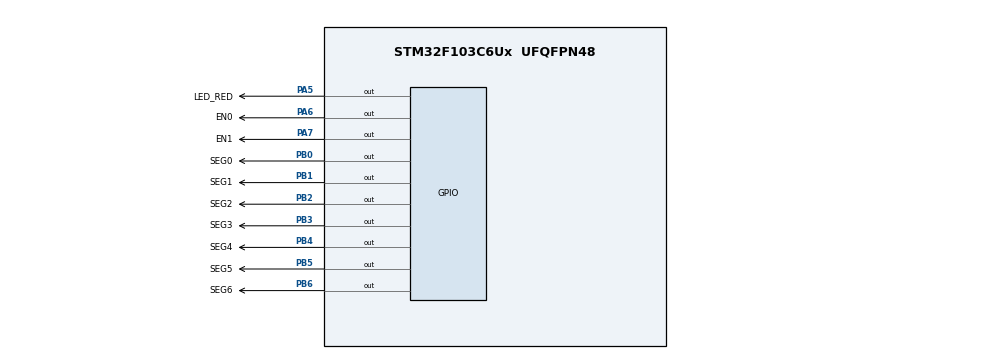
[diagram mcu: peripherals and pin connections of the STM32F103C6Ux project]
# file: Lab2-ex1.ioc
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Mcu.Family=STM32F1
Mcu.Name=STM32F103C6Ux
Mcu.Package=UFQFPN48
NVIC.PriorityGroup=NVIC_PRIORITYGROUP_4
NVIC.TIM2_IRQn=true\:0\:0\:false\:false\:true\:true\:true
PA5.GPIO_Label=LED_RED
PA5.Signal=GPIO_Output
PA6.GPIO_Label=EN0
PA6.Signal=GPIO_Output
PA7.GPIO_Label=EN1
PA7.Signal=GPIO_Output
PB0.GPIO_Label=SEG0
PB0.Signal=GPIO_Output
PB1.GPIO_Label=SEG1
PB1.Signal=GPIO_Output
PB2.GPIO_Label=SEG2
PB2.Signal=GPIO_Output
PB3.GPIO_Label=SEG3
PB3.Signal=GPIO_Output
PB4.GPIO_Label=SEG4
PB4.Signal=GPIO_Output
PB5.GPIO_Label=SEG5
PB5.Signal=GPIO_Output
PB6.GPIO_Label=SEG6
PB6.Signal=GPIO_Output
ProjectManager.HeapSize=0x200
ProjectManager.StackSize=0x400
ProjectManager.TargetToolchain=STM32CubeIDE
RCC.APB1Freq_Value=8000000
RCC.APB2Freq_Value=8000000
TIM2.Period=9
TIM2.Prescaler=7999
VP_SYS_VS_ND.Mode=No_Debug
VP_TIM2_VS_ClockSourceINT.Mode=Internal
board=custom

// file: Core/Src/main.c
/* USER CODE BEGIN Header */
/**
  ******************************************************************************
  * @file           : main.c
  * @brief          : Main program body
  ******************************************************************************
  * @attention
  *
  * <h2><center>&copy; Copyright (c) 2025 STMicroelectronics.
  * All rights reserved.</center></h2>
  *
  * This software component is licensed by ST under BSD 3-Clause license,
  * the "License"; You may not use this file except in compliance with the
  * License. You may obtain a copy of the License at:
  *                        opensource.org/licenses/BSD-3-Clause
  *
  ******************************************************************************
  */
/* USER CODE END Header */
#include "main.h"
#include "software_timer.h"

TIM_HandleTypeDef htim2;

void SystemClock_Config(void);
static void MX_GPIO_Init(void);
static void MX_TIM2_Init(void);

/* USER CODE BEGIN 0 */

void display7SEG(int num);
/* USER CODE END 0 */

int led_status = 0;
int main(void)
{

  /* MCU Configuration--------------------------------------------------------*/

  /* Reset of all peripherals, Initializes the Flash interface and the Systick. */
  HAL_Init();

  /* Configure the system clock */
  SystemClock_Config();

  /* Initialize all configured peripherals */
  MX_GPIO_Init();
  MX_TIM2_Init();
  /* USER CODE BEGIN 2 */
  HAL_TIM_Base_Start_IT(&htim2);
  /* USER CODE END 2 */
  setTimer1(500);
  setTimer2(1000);
  /* Infinite loop */
  /* USER CODE BEGIN WHILE */
  while (1) {
	  // Check flag software timer
	  if (timer1_flag == 1) {
		  switch(led_status) {
			  case 0:
				  // 0: Display "1" on the first LED
				  HAL_GPIO_WritePin(EN1_GPIO_Port, EN1_Pin, GPIO_PIN_SET);   // Turn off LED 2
				  display7SEG(1);
				  HAL_GPIO_WritePin(EN0_GPIO_Port, EN0_Pin, GPIO_PIN_RESET); // Turn on LED 1
				  led_status = 1; // Switch to the next status
				  break;
			  case 1:
				  // 1: Display "2" on the second LED
				  HAL_GPIO_WritePin(EN0_GPIO_Port, EN0_Pin, GPIO_PIN_SET);   // Turn off LED 1
				  display7SEG(2);
				  HAL_GPIO_WritePin(EN1_GPIO_Port, EN1_Pin, GPIO_PIN_RESET); // Turn on LED 2
				  led_status = 0; // Switch to the first status
				  break;
			  default:
				  break;
		  }
		  // set timer for the next time
		  setTimer1(500);
	  }

	  if (timer2_flag == 1) {
		  HAL_GPIO_TogglePin(LED_RED_GPIO_Port, LED_RED_Pin);
		  setTimer2(1000);
	  }

  }
  /* USER CODE END 3 */
}

void SystemClock_Config(void)
{
  RCC_OscInitTypeDef RCC_OscInitStruct = {0};
  RCC_ClkInitTypeDef RCC_ClkInitStruct = {0};

  /** Initializes the RCC Oscillators according to the specified parameters
  * in the RCC_OscInitTypeDef structure.
  */
  RCC_OscInitStruct.OscillatorType = RCC_OSCILLATORTYPE_HSI;
  RCC_OscInitStruct.HSIState = RCC_HSI_ON;
  RCC_OscInitStruct.HSICalibrationValue = RCC_HSICALIBRATION_DEFAULT;
  RCC_OscInitStruct.PLL.PLLState = RCC_PLL_NONE;
  if (HAL_RCC_OscConfig(&RCC_OscInitStruct) != HAL_OK)
  {
    Error_Handler();
  }
  /** Initializes the CPU, AHB and APB buses clocks
  */
  RCC_ClkInitStruct.ClockType = RCC_CLOCKTYPE_HCLK|RCC_CLOCKTYPE_SYSCLK
                              |RCC_CLOCKTYPE_PCLK1|RCC_CLOCKTYPE_PCLK2;
  RCC_ClkInitStruct.SYSCLKSource = RCC_SYSCLKSOURCE_HSI;
  RCC_ClkInitStruct.AHBCLKDivider = RCC_SYSCLK_DIV1;
  RCC_ClkInitStruct.APB1CLKDivider = RCC_HCLK_DIV1;
  RCC_ClkInitStruct.APB2CLKDivider = RCC_HCLK_DIV1;

  if (HAL_RCC_ClockConfig(&RCC_ClkInitStruct, FLASH_LATENCY_0) != HAL_OK)
  {
    Error_Handler();
  }
}

static void MX_TIM2_Init(void)
{

  TIM_ClockConfigTypeDef sClockSourceConfig = {0};
  TIM_MasterConfigTypeDef sMasterConfig = {0};

  htim2.Instance = TIM2;
  htim2.Init.Prescaler = 7999;
  htim2.Init.CounterMode = TIM_COUNTERMODE_UP;
  htim2.Init.Period = 9;
  htim2.Init.ClockDivision = TIM_CLOCKDIVISION_DIV1;
  htim2.Init.AutoReloadPreload = TIM_AUTORELOAD_PRELOAD_DISABLE;
  if (HAL_TIM_Base_Init(&htim2) != HAL_OK)
  {
    Error_Handler();
  }
  sClockSourceConfig.ClockSource = TIM_CLOCKSOURCE_INTERNAL;
  if (HAL_TIM_ConfigClockSource(&htim2, &sClockSourceConfig) != HAL_OK)
  {
    Error_Handler();
  }
  sMasterConfig.MasterOutputTrigger = TIM_TRGO_RESET;
  sMasterConfig.MasterSlaveMode = TIM_MASTERSLAVEMODE_DISABLE;
  if (HAL_TIMEx_MasterConfigSynchronization(&htim2, &sMasterConfig) != HAL_OK)
  {
    Error_Handler();
  }

}

static void MX_GPIO_Init(void)
{
  GPIO_InitTypeDef GPIO_InitStruct = {0};

  /* GPIO Ports Clock Enable */
  __HAL_RCC_GPIOA_CLK_ENABLE();
  __HAL_RCC_GPIOB_CLK_ENABLE();

  /*Configure GPIO pin Output Level */
  HAL_GPIO_WritePin(GPIOA, LED_RED_Pin|EN0_Pin|EN1_Pin, GPIO_PIN_RESET);

  /*Configure GPIO pin Output Level */
  HAL_GPIO_WritePin(GPIOB, SEG0_Pin|SEG1_Pin|SEG2_Pin|SEG3_Pin
                          |SEG4_Pin|SEG5_Pin|SEG6_Pin, GPIO_PIN_RESET);

  /*Configure GPIO pins : LED_RED_Pin EN0_Pin EN1_Pin */
  GPIO_InitStruct.Pin = LED_RED_Pin|EN0_Pin|EN1_Pin;
  GPIO_InitStruct.Mode = GPIO_MODE_OUTPUT_PP;
  GPIO_InitStruct.Pull = GPIO_NOPULL;
  GPIO_InitStruct.Speed = GPIO_SPEED_FREQ_LOW;
  HAL_GPIO_Init(GPIOA, &GPIO_InitStruct);

  /*Configure GPIO pins : SEG0_Pin SEG1_Pin SEG2_Pin SEG3_Pin
                           SEG4_Pin SEG5_Pin SEG6_Pin */
  GPIO_InitStruct.Pin = SEG0_Pin|SEG1_Pin|SEG2_Pin|SEG3_Pin
                          |SEG4_Pin|SEG5_Pin|SEG6_Pin;
  GPIO_InitStruct.Mode = GPIO_MODE_OUTPUT_PP;
  GPIO_InitStruct.Pull = GPIO_NOPULL;
  GPIO_InitStruct.Speed = GPIO_SPEED_FREQ_LOW;
  HAL_GPIO_Init(GPIOB, &GPIO_InitStruct);

}

/* USER CODE BEGIN 4 */
void display7SEG(int num) {
    // Turn off all segment
    HAL_GPIO_WritePin(GPIOB, SEG0_Pin|SEG1_Pin|SEG2_Pin|SEG3_Pin|SEG4_Pin|SEG5_Pin|SEG6_Pin, GPIO_PIN_SET);

    switch (num) {
        case 0:
            HAL_GPIO_WritePin(GPIOB, SEG0_Pin|SEG1_Pin|SEG2_Pin|SEG3_Pin|SEG4_Pin|SEG5_Pin, GPIO_PIN_RESET);
            break;
        case 1:
            HAL_GPIO_WritePin(GPIOB, SEG1_Pin|SEG2_Pin, GPIO_PIN_RESET);
            break;
        case 2:
            HAL_GPIO_WritePin(GPIOB, SEG0_Pin|SEG1_Pin|SEG3_Pin|SEG4_Pin|SEG6_Pin, GPIO_PIN_RESET);
            break;
        case 3:
            HAL_GPIO_WritePin(GPIOB, SEG0_Pin|SEG1_Pin|SEG2_Pin|SEG3_Pin|SEG6_Pin, GPIO_PIN_RESET);
            break;
        case 4:
            HAL_GPIO_WritePin(GPIOB, SEG1_Pin|SEG2_Pin|SEG5_Pin|SEG6_Pin, GPIO_PIN_RESET);
            break;
        case 5:
            HAL_GPIO_WritePin(GPIOB, SEG0_Pin|SEG2_Pin|SEG3_Pin|SEG5_Pin|SEG6_Pin, GPIO_PIN_RESET);
            break;
        case 6:
            HAL_GPIO_WritePin(GPIOB, SEG0_Pin|SEG2_Pin|SEG3_Pin|SEG4_Pin|SEG5_Pin|SEG6_Pin, GPIO_PIN_RESET);
            break;
        case 7:
            HAL_GPIO_WritePin(GPIOB, SEG0_Pin|SEG1_Pin|SEG2_Pin, GPIO_PIN_RESET);
            break;
        case 8:
            HAL_GPIO_WritePin(GPIOB, SEG0_Pin|SEG1_Pin|SEG2_Pin|SEG3_Pin|SEG4_Pin|SEG5_Pin|SEG6_Pin, GPIO_PIN_RESET);
            break;
        case 9:
            HAL_GPIO_WritePin(GPIOB, SEG0_Pin|SEG1_Pin|SEG2_Pin|SEG3_Pin|SEG5_Pin|SEG6_Pin, GPIO_PIN_RESET);
            break;
    }
}

void HAL_TIM_PeriodElapsedCallback(TIM_HandleTypeDef *htim) {
	timerRun();
}
/* USER CODE END 4 */

void Error_Handler(void)
{
  __disable_irq();
  while (1)
  {
  }
}

/************************ (C) COPYRIGHT STMicroelectronics *****END OF FILE****/
